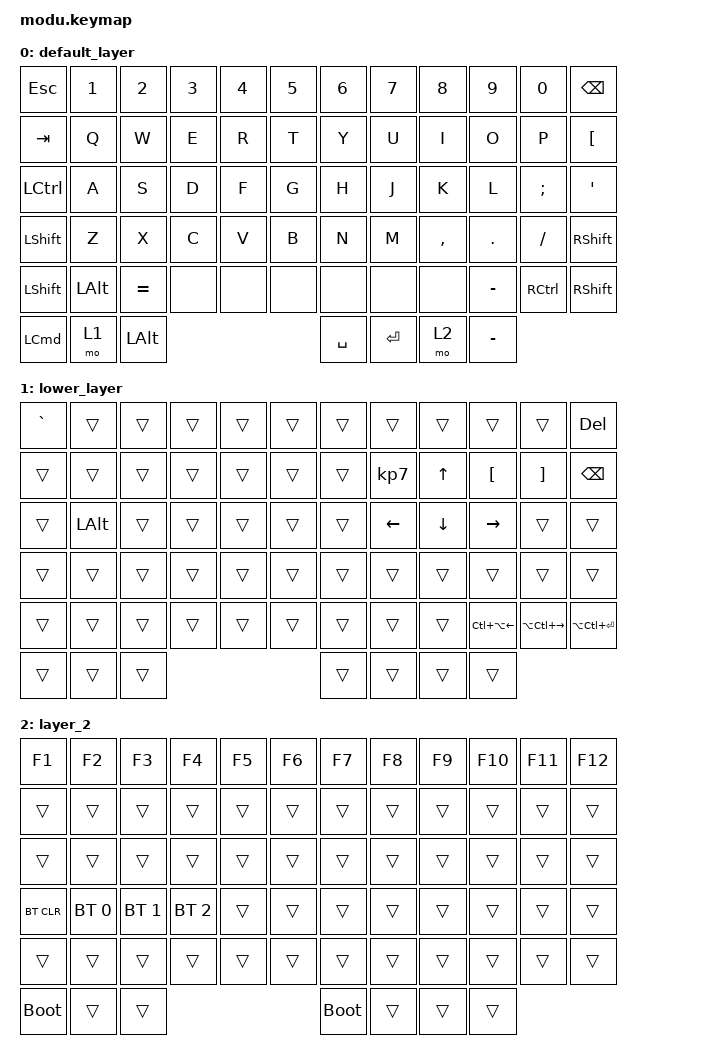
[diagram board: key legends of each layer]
/*
 * Copyright (c) 2026 EKS Inc.
 * Created by Ryu.
 * SPDX-License-Identifier: LicenseRef-EKS-NonCommercial-1.0
 *
 * Unofficial modification, based on upstream commit
 * bee0bb4b812f63f279eb67e928accc89600b5904 and customized through
 * Keymap Editor for GitHub Actions builds.
 */

#include <behaviors.dtsi>
#include <dt-bindings/zmk/bt.h>
#include <dt-bindings/zmk/keys.h>

/ {
    combos {
        compatible = "zmk,combos";

        reset {
            bindings = <&sys_reset>;
            key-positions = <48 5 6>;
            layers = <1>;
        };
    };

    keymap {
        compatible = "zmk,keymap";

        default_layer {
            // -----------------------------------------------------------------
            // |ESC | 1  | 2  | 3  | 4  | 5  |   | 6  | 7  | 8  | 9  | 0  |DEL |
            // |TAB | Q  | W  | E  | R  | T  |   | Y  | U  | I  | O  | P  |HOME|
            // |CAPS| A  | S  | D  | F  | G  |   | H  | J  | K  | L  | ;  |PGUP|
            // |LSFT| Z  | X  | C  | V  | B  |   | N  | M  | ,  | .  | /  |PGDN|
            // |LCTL|LALT|LGUI|                                 |RALT|RCTL|END |
            //                |LANG|SPC |MO1 |   |BSPC|RET |MO1 | B  |

            bindings = <
&kp ESC           &kp N1    &kp N2        &kp N3  &kp N4  &kp N5  &kp N6     &kp N7   &kp N8     &kp N9     &kp N0     &kp BACKSPACE
&kp TAB           &kp Q     &kp W         &kp E   &kp R   &kp T   &kp Y      &kp U    &kp I      &kp O      &kp P      &kp LEFT_BRACKET
&kp LEFT_CONTROL  &kp A     &kp S         &kp D   &kp F   &kp G   &kp H      &kp J    &kp K      &kp L      &kp SEMI   &kp SQT
&kp LSHFT         &kp Z     &kp X         &kp C   &kp V   &kp B   &kp N      &kp M    &kp COMMA  &kp DOT    &kp FSLH   &kp RIGHT_SHIFT
&kp LEFT_SHIFT    &kp LALT  &kp EQUAL     &none   &none   &none   &none      &none    &none      &kp MINUS  &kp RCTRL  &kp RIGHT_SHIFT
&kp LEFT_COMMAND  &mo 1     &kp LEFT_ALT                          &kp SPACE  &kp RET  &mo 2      &kp MINUS
            >;
        };

        lower_layer {
            bindings = <
&kp GRAVE  &trans        &trans  &trans  &trans  &trans  &trans  &trans          &trans          &trans            &trans             &kp DEL
&trans     &trans        &trans  &trans  &trans  &trans  &trans  &kp KP_N7       &kp UP_ARROW    &kp LEFT_BRACKET  &kp RIGHT_BRACKET  &kp BSPC
&trans     &kp LEFT_ALT  &trans  &trans  &trans  &trans  &trans  &kp LEFT_ARROW  &kp DOWN_ARROW  &kp RIGHT_ARROW   &trans             &trans
&trans     &trans        &trans  &trans  &trans  &trans  &trans  &trans          &trans          &trans            &trans             &trans
&trans     &trans        &trans  &trans  &trans  &trans  &trans  &trans          &trans          &kp LC(LA(LEFT))  &kp LA(LC(RIGHT))  &kp LA(LC(RETURN))
&trans     &trans        &trans                          &trans  &trans          &trans          &trans
            >;
        };

        layer_2 {
            bindings = <
&kp F1       &kp F2        &kp F3        &kp F4        &kp F5  &kp F6  &kp F7       &kp F8  &kp F9  &kp F10  &kp F11  &kp F12
&trans       &trans        &trans        &trans        &trans  &trans  &trans       &trans  &trans  &trans   &trans   &trans
&trans       &trans        &trans        &trans        &trans  &trans  &trans       &trans  &trans  &trans   &trans   &trans
&bt BT_CLR   &bt BT_SEL 0  &bt BT_SEL 1  &bt BT_SEL 2  &trans  &trans  &trans       &trans  &trans  &trans   &trans   &trans
&trans       &trans        &trans        &trans        &trans  &trans  &trans       &trans  &trans  &trans   &trans   &trans
&bootloader  &trans        &trans                                      &bootloader  &trans  &trans  &trans
            >;
        };
    };
};
